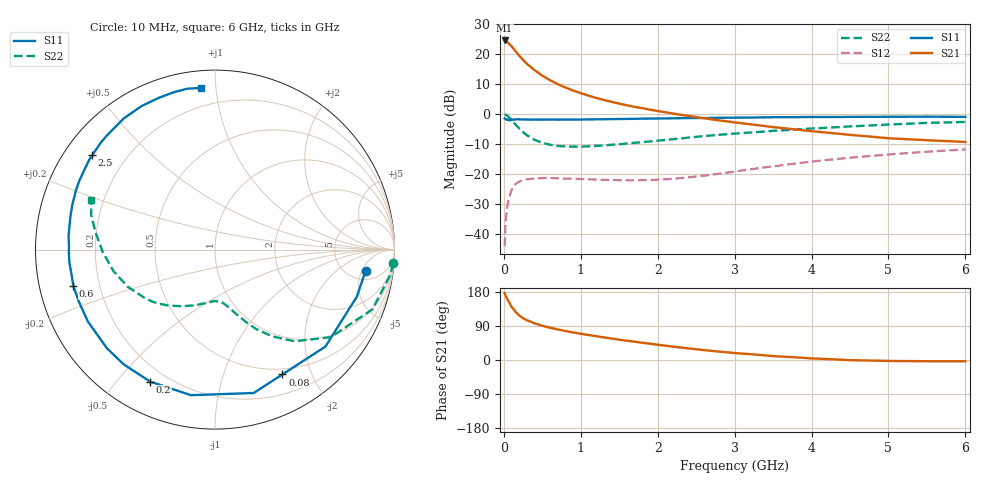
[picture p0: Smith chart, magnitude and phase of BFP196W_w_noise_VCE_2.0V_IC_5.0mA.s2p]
! (c) 2017  Infineon Technologies AG, Munich
! Infineon Technologies  Discrete & RF Semiconductors
! BFP196W
! VCE =  2.0 V,  IC =  5.0 mA
! Common Emitter S-Parameters:  Jan 2017
# GHz  S  MA  R  50
!  f  S11  S21  S12  S22
! GHz  MAG  ANG  MAG  ANG  MAG  ANG  MAG  ANG
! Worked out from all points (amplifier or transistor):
!   77 points, 10 MHz to 6 GHz, reference 50 ohm
!   highest |S21| = 24.6 dB at 10 MHz (marker M1)
!   |S21| within 3 dB of that: start of sweep to 133.7 MHz
!   unconditionally stable (mu >= 1): 1.55 GHz to 3.307 GHz
!   at 130 MHz: K = 0.10, MSG = 22.9 dB, |S12| = -24.1 dB
!   at 2.2 GHz: K = 1.16, MAG = 8.4 dB, |S12| = -21.6 dB
!   at 6 GHz: K = 0.96, MSG = 1.2 dB, |S12| = -11.7 dB
!   lowest NFmin = 0.90 dB at 450 MHz
!   S11 on the Smith chart (normalised r, x): 10 MHz: 7.16, -5.93; 80 MHz: 0.43, -1.59; 200 MHz: 0.14, -0.61; 600 MHz: 0.10, -0.12; 2.5 GHz: 0.08, +0.34; 6 GHz: 0.09, +0.92
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0.01  0.8476 -7.9  16.96 176.6  0.0063 86.6  0.9953 -4.4
0.02  0.8328 -18.3  16.69 171.1  0.0132 80.2  0.9854 -8.5
0.05  0.8189 -41.3  15.85 158.3  0.0317 69.1  0.9379 -20.8
0.08  0.7904 -61.6  14.32 148.2  0.0451 57.8  0.8524 -29.9
0.1  0.8275 -74.9  13.6 140.3  0.0546 53.5  0.8094 -37.0
0.15  0.8221 -99.4  11.34 127.3  0.0683 41.5  0.6772 -49.0
0.2  0.8194 -116.2  9.456 117.6  0.0749 33.6  0.5775 -56.7
0.25  0.8172 -128.6  8.029 110.3  0.08 28.2  0.5022 -62.3
0.3  0.8152 -137.7  6.92 104.9  0.0821 24.1  0.4452 -66.4
0.4  0.8138 -150.5  5.404 96.4  0.0848 19.2  0.3737 -72.2
0.5  0.8121 -159.1  4.388 90.3  0.0858 15.8  0.333 -76.3
0.6  0.8147 -165.7  3.693 85.1  0.0862 14.3  0.3096 -79.8
0.8  0.8145 -175.1  2.792 76.5  0.0843 13.1  0.29 -85.5
0.9  0.8142 -178.9  2.479 72.7  0.084 12.5  0.2876 -88.5
1.1  0.8195 174.6  2.042 66.0  0.0819 13.3  0.2913 -94.1
1.5  0.83 164.3  1.5 53.8  0.0794 17.9  0.3153 -105.4
2.1  0.85 150.5  1.076 37.9  0.0822 30.3  0.372 -122.3
2.5  0.8625 142.5  0.894 28.4  0.0914 38.2  0.4187 -132.9
3.1  0.877 131.7  0.705 16.9  0.1153 44.8  0.484 -147.8
4.1  0.898 115.7  0.507 3.4  0.1669 44.1  0.5855 -170.2
5.1  0.9064 103.8  0.391 -2.7  0.2173 36.9  0.6802 170.2
6  0.9039 94.8  0.344 -3.4  0.2587 28.9  0.7426 158.2
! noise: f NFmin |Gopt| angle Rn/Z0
0.45  0.9  0.44  123  0.09
0.9  1.32  0.6  159  0.06
1.9  2.72  0.75  -161  0.11
2.4  3.29  0.8  -151  0.28
